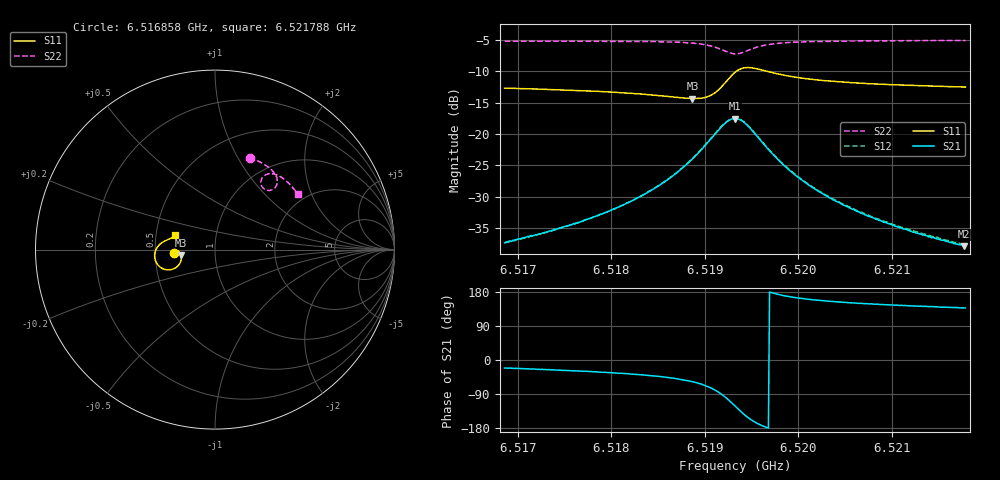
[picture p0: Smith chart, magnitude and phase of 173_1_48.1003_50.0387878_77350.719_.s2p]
#  HZ  S  RI  R  50.00
! Rohde & Schwarz Vector Network Analyzer
! Rohde-Schwarz,ZNB20-2Port,1311601062101988,3.16
! Created: UTC 12/23/2023, 3:51:59 AM
! freq[Hz]  re:S11  im:S11  re:S21  im:S21  re:S12  im:S12  re:S22  im:S22
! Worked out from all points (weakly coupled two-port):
!   401 points, 6.516858 GHz to 6.521788 GHz, reference 50 ohm
!   highest |S21| = -17.53 dB at 6.519323 GHz (marker M1); lowest = -37.9 dB at 6.521776 GHz (marker M2)
!   lowest |S11| = -14.3 dB at 6.518867 GHz (marker M3), VSWR 1.47, Z = 34 - j2.22 ohm
!   |S11| at or under -10 dB: start of sweep to 6.519338 GHz; 6.519663 GHz to end of sweep
!   |S22| runs from -7.2 to -5.1 dB; largest |S21 - S12| = 0.0042
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6.5168578e9  -0.2311 -0.0198  0.0127 -0.00492  0.0129 -0.00442  0.1932 0.5129
6.5172891e9  -0.2268 -0.0132  0.0149 -0.00698  0.0151 -0.00645  0.2251 0.5
6.5176836e9  -0.2214 -0.00842  0.0175 -0.0101  0.0178 -0.00925  0.2543 0.486
6.5181396e9  -0.2126 -0.00579  0.0224 -0.016  0.0229 -0.0154  0.2885 0.4654
6.5185094e9  -0.2022 -0.00971  0.0283 -0.0267  0.0292 -0.0259  0.3171 0.4421
6.5186942e9  -0.1955 -0.0169  0.0319 -0.0369  0.0331 -0.0361  0.3313 0.4256
6.5188668e9  -0.1891 -0.0314  0.0343 -0.0533  0.0361 -0.0526  0.3432 0.404
6.5189901e9  -0.1878 -0.0507  0.0321 -0.0724  0.0345 -0.0718  0.3475 0.3821
6.5190887e9  -0.1947 -0.074  0.0223 -0.0937  0.0252 -0.0935  0.3434 0.3594
6.5192242e9  -0.2354 -0.109  -0.0194 -0.1216  -0.016 -0.1231  0.3126 0.3313
6.5193228e9  -0.2911 -0.1061  -0.0695 -0.1133  -0.0666 -0.1163  0.2743 0.3374
6.5193721e9  -0.3154 -0.0883  -0.0892 -0.0951  -0.087 -0.0986  0.2608 0.3527
6.5194338e9  -0.3329 -0.0579  -0.1013 -0.0669  -0.1001 -0.0705  0.2554 0.376
6.5195447e9  -0.3325 -0.0091  -0.0956 -0.0253  -0.0957 -0.0283  0.2694 0.4076
6.5196556e9  -0.3166 0.0197  -0.0791 -0.00335  -0.0796 -0.00586  0.2922 0.4209
6.5199021e9  -0.2856 0.0448  -0.0505 0.0113  -0.0514 0.0101  0.3324 0.4206
6.5201486e9  -0.2671 0.0537  -0.0352 0.0135  -0.036 0.0125  0.3595 0.409
6.5204938e9  -0.2514 0.0604  -0.0239 0.0126  -0.0245 0.0121  0.3876 0.3899
6.5209745e9  -0.2383 0.0676  -0.016 0.0109  -0.0165 0.0106  0.4184 0.3618
6.5214058e9  -0.2297 0.0735  -0.0118 0.00967  -0.0123 0.00944  0.442 0.3356
6.5217756e9  -0.2235 0.0786  -0.00944 0.00864  -0.00993 0.00866  0.4599 0.3128
6.5217879e9  -0.2232 0.0787  -0.00943 0.00869  -0.00987 0.00846  0.4605 0.3121
